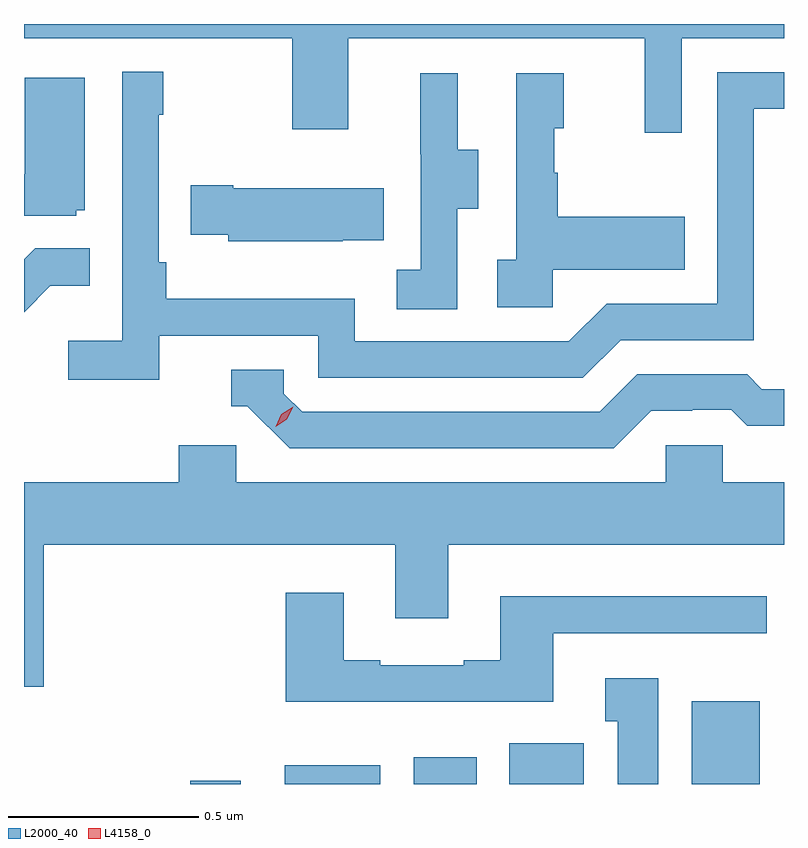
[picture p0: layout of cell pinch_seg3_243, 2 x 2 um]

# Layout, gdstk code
import gdstk
lib = gdstk.Library(unit=1e-6, precision=1e-09)
def R(c, l, rs):  # rectangles x0, y0, x1, y1
    for r in rs: c.add(gdstk.rectangle(r[:2], r[2:], *l))
def P(c, l, *ps):  # polygons
    for p in ps: c.add(gdstk.Polygon(p, *l))
L2000_40 = (2000, 40)
L4158_0 = (4158, 0)

pinch_seg3_243 = lib.new_cell('pinch_seg3_243')
R(pinch_seg3_243, L2000_40, [(920.802,729.59,920.934,729.599), (921.05,729.59,921.301,729.64), (921.389,729.59,921.556,729.661), (921.641,729.59,921.837,729.697), (922.121,729.59,922.3,729.808)])
P(pinch_seg3_243, L2000_40, [(922.095,731.552),(922.364,731.552),(922.364,731.59),(920.364,731.59),(920.364,731.552),(921.07,731.552),(921.07,731.313),(921.217,731.313),(921.217,731.552),(921.998,731.552),(921.998,731.304),(922.095,731.304)],
  [(920.72,730.77),(921.138,730.77),(921.138,730.659),(921.835,730.659),(921.934,730.758),(922.284,730.758),(922.284,731.367),(922.364,731.367),(922.364,731.463),(922.188,731.463),(922.188,730.854),(921.897,730.854),(921.798,730.755),(921.234,730.755),(921.234,730.867),(920.738,730.867),(920.738,730.963),(920.718,730.963),(920.718,731.351),(920.731,731.351),(920.731,731.464),(920.622,731.464),(920.622,730.756),(920.481,730.756),(920.481,730.654),(920.72,730.654)],
  [(921.756,730.943),(922.103,730.943),(922.103,731.083),(921.769,731.083),(921.769,731.198),(921.759,731.198),(921.759,731.316),(921.784,731.316),(921.784,731.461),(921.66,731.461),(921.66,730.97),(921.609,730.97),(921.609,730.845),(921.756,730.845)],
  [(921.504,731.104),(921.559,731.104),(921.559,731.259),(921.505,731.259),(921.505,731.461),(921.407,731.461),(921.407,731.247),(921.408,731.247),(921.408,730.943),(921.345,730.943),(921.345,730.84),(921.504,730.84)],
  [(920.502,731.1),(920.524,731.1),(920.524,731.449),(920.366,731.449),(920.366,731.194),(920.364,731.194),(920.364,731.085),(920.502,731.085)],
  [(921.203,731.021),(921.311,731.021),(921.311,731.158),(920.914,731.158),(920.914,731.166),(920.803,731.166),(920.803,731.036),(920.901,731.036),(920.901,731.018),(921.203,731.018)],
  [(920.433,730.901),(920.537,730.901),(920.537,731),(920.393,731),(920.364,730.971),(920.364,730.832)],
  [(922.015,730.572),(922.122,730.572),(922.122,730.575),(922.225,730.575),(922.267,730.533),(922.364,730.533),(922.364,730.629),(922.306,730.629),(922.267,730.668),(921.978,730.668),(921.879,730.569),(921.096,730.569),(921.048,730.617),(921.048,730.68),(920.909,730.68),(920.909,730.584),(920.952,730.584),(921.063,730.473),(921.916,730.473)],
  [(920.416,730.22),(921.341,730.22),(921.341,730.026),(921.481,730.026),(921.481,730.22),(922.364,730.22),(922.364,730.384),(922.203,730.384),(922.203,730.482),(922.053,730.482),(922.053,730.384),(920.922,730.384),(920.922,730.482),(920.771,730.482),(920.771,730.384),(920.364,730.384),(920.364,729.846),(920.416,729.846)],
  [(921.757,729.987),(922.318,729.987),(922.318,730.084),(921.617,730.084),(921.617,729.916),(921.521,729.916),(921.521,729.903),(921.301,729.903),(921.301,729.916),(921.205,729.916),(921.205,730.093),(921.053,730.093),(921.053,729.806),(921.757,729.806)],
  [(922.033,729.868),(921.893,729.868),(921.893,729.755),(921.926,729.755),(921.926,729.59),(922.033,729.59)])
P(pinch_seg3_243, L4158_0, [(921.026,730.53),(921.026,730.53),(921.041,730.563),(921.072,730.583),(921.072,730.583),(921.072,730.583),(921.056,730.55),(921.026,730.53)])

lib.write_gds('pinch_seg3_243.gds')
